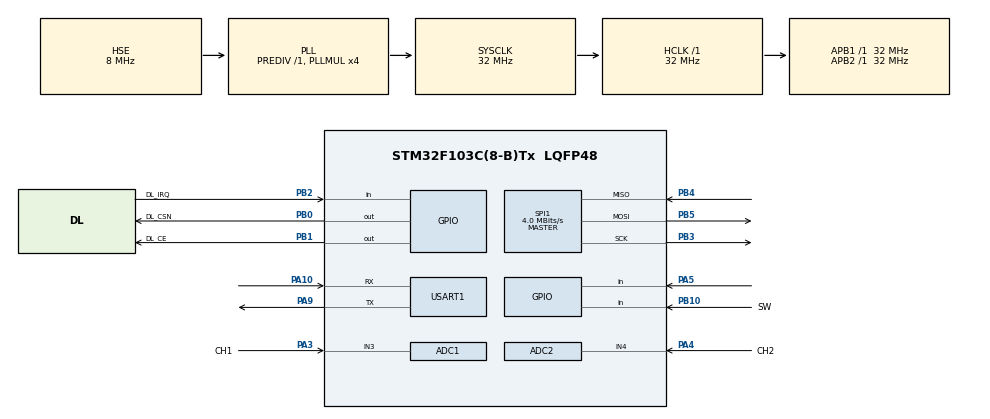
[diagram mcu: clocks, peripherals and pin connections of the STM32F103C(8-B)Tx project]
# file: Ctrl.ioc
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ADC1.Channel-0\#ChannelRegularConversion=ADC_CHANNEL_3
ADC1.NbrOfConversionFlag=1
ADC1.Rank-0\#ChannelRegularConversion=1
ADC1.SamplingTime-0\#ChannelRegularConversion=ADC_SAMPLETIME_1CYCLE_5
ADC1.master=1
ADC2.Channel-0\#ChannelRegularConversion=ADC_CHANNEL_4
ADC2.NbrOfConversionFlag=1
ADC2.Rank-0\#ChannelRegularConversion=1
ADC2.SamplingTime-0\#ChannelRegularConversion=ADC_SAMPLETIME_1CYCLE_5
IWDG.Prescaler=IWDG_PRESCALER_64
IWDG.Reload=625
Mcu.Family=STM32F1
Mcu.Name=STM32F103C(8-B)Tx
Mcu.Package=LQFP48
NVIC.PriorityGroup=NVIC_PRIORITYGROUP_4
NVIC.TIM3_IRQn=true\:0\:0\:false\:false\:true\:true\:true\:true
NVIC.USART1_IRQn=true\:0\:0\:false\:false\:true\:true\:true\:true
PA10.Mode=Asynchronous
PA10.Signal=USART1_RX
PA13.Mode=Serial_Wire
PA13.Signal=SYS_JTMS-SWDIO
PA14.Mode=Serial_Wire
PA14.Signal=SYS_JTCK-SWCLK
PA3.GPIO_Label=CH1
PA3.Signal=SharedAnalog_PA3
PA4.GPIO_Label=CH2
PA4.Signal=SharedAnalog_PA4
PA5.Signal=GPIO_Input
PA9.Mode=Asynchronous
PA9.Signal=USART1_TX
PB0.GPIO_Label=DL_CSN
PB0.GPIO_Speed=GPIO_SPEED_FREQ_HIGH
PB0.PinState=GPIO_PIN_SET
PB0.Signal=GPIO_Output
PB1.GPIO_Label=DL_CE
PB1.GPIO_Speed=GPIO_SPEED_FREQ_HIGH
PB1.PinState=GPIO_PIN_SET
PB1.Signal=GPIO_Output
PB10.GPIO_Label=SW
PB10.GPIO_PuPd=GPIO_PULLUP
PB10.Signal=GPIO_Input
PB2.GPIO_Label=DL_IRQ
PB2.GPIO_PuPd=GPIO_PULLUP
PB2.Signal=GPIO_Input
PB3.Mode=Full_Duplex_Master
PB3.Signal=SPI1_SCK
PB4.Mode=Full_Duplex_Master
PB4.Signal=SPI1_MISO
PB5.Mode=Full_Duplex_Master
PB5.Signal=SPI1_MOSI
PD0-OSC_IN.Mode=HSE-External-Oscillator
PD0-OSC_IN.Signal=RCC_OSC_IN
PD1-OSC_OUT.Mode=HSE-External-Oscillator
PD1-OSC_OUT.Signal=RCC_OSC_OUT
ProjectManager.HeapSize=0x200
ProjectManager.StackSize=0x400
ProjectManager.TargetToolchain=Makefile
RCC.ADCPresc=RCC_ADCPCLK2_DIV4
RCC.AHBFreq_Value=32000000
RCC.APB1Freq_Value=32000000
RCC.APB1TimFreq_Value=32000000
RCC.APB2Freq_Value=32000000
RCC.APB2TimFreq_Value=32000000
RCC.HCLKFreq_Value=32000000
RCC.PLLMUL=RCC_PLL_MUL4
RCC.PLLSourceVirtual=RCC_PLLSOURCE_HSE
RCC.SYSCLKFreq_VALUE=32000000
RCC.SYSCLKSource=RCC_SYSCLKSOURCE_PLLCLK
RCC.USBFreq_Value=32000000
SH.SharedAnalog_PA3.0=GPIO_Analog
SH.SharedAnalog_PA3.1=ADC1_IN3,IN3
SH.SharedAnalog_PA4.0=GPIO_Analog
SH.SharedAnalog_PA4.1=ADC2_IN4,IN4
SPI1.BaudRatePrescaler=SPI_BAUDRATEPRESCALER_8
SPI1.CLKPhase=SPI_PHASE_1EDGE
SPI1.CLKPolarity=SPI_POLARITY_LOW
SPI1.CRCCalculation=SPI_CRCCALCULATION_DISABLE
SPI1.CalculateBaudRate=4.0 MBits/s
SPI1.DataSize=SPI_DATASIZE_8BIT
SPI1.Direction=SPI_DIRECTION_2LINES
SPI1.FirstBit=SPI_FIRSTBIT_MSB
SPI1.Mode=SPI_MODE_MASTER
SPI1.VirtualNSS=VM_NSSHARD
SPI1.VirtualType=VM_MASTER
TIM3.Period=99
TIM3.Prescaler=71
USART1.VirtualMode=VM_ASYNC
VP_IWDG_VS_IWDG.Mode=IWDG_Activate
VP_TIM3_VS_ClockSourceINT.Mode=Internal
board=custom

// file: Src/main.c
/* USER CODE BEGIN Header */
/**
  ******************************************************************************
  * @file           : main.c
  * @brief          : Main program body
  ******************************************************************************
  * @attention
  *
  * Copyright (c) 2022 STMicroelectronics.
  * All rights reserved.
  *
  * This software is licensed under terms that can be found in the LICENSE file
  * in the root directory of this software component.
  * If no LICENSE file comes with this software, it is provided AS-IS.
  *
  ******************************************************************************
  */
/* USER CODE END Header */
#include "main.h"
#include "adc.h"
#include "iwdg.h"
#include "spi.h"
#include "tim.h"
#include "usart.h"
#include "gpio.h"

/* USER CODE BEGIN Includes */

#include "nrf24l01.h"
#include <stdio.h>
#include <string.h>

/* USER CODE END Includes */

void SystemClock_Config(void);

/* USER CODE BEGIN 0 */

/**
 * @brief  发送头 0xAA 0xAF 0xAD 0xA5
 * 数据第五位开始依次为： 转向角度 前进动力
 */
uint8_t sendDataStruct[32] =
{
  0xAA,
  0xAF,
  0xAD,
  0xA5
};

uint32_t ch1_adc;
uint32_t ch2_adc;

uint8_t rotate;
uint8_t straight;

/* USER CODE END 0 */

int main(void)
{

  /* MCU Configuration--------------------------------------------------------*/

  /* Reset of all peripherals, Initializes the Flash interface and the Systick. */
  HAL_Init();

  /* Configure the system clock */
  SystemClock_Config();

  /* Initialize all configured peripherals */
  MX_GPIO_Init();
  // MX_IWDG_Init();
  MX_SPI1_Init();
  MX_TIM3_Init();
  MX_USART1_UART_Init();
  MX_ADC1_Init();
  MX_ADC2_Init();
  /* USER CODE BEGIN 2 */

  HAL_Delay(500);

  while (NRF24L01_Check() == 1)
  {
    HAL_Delay(1000);
    HAL_UART_Transmit(&huart1, (uint8_t *) "init nrf err\n", 14, 200);
    /* code */
  }

  NRF24L01_TX_Mode();

  HAL_UART_Transmit(&huart1, (uint8_t *) "init tx mode succ\n", 19, 200);

  HAL_Delay(200);

  HAL_ADCEx_Calibration_Start(&hadc1);
  HAL_ADCEx_Calibration_Start(&hadc2);

  /* USER CODE END 2 */

  /* Infinite loop */
  /* USER CODE BEGIN WHILE */
  while (1)
  {

  HAL_ADC_Start(&hadc1);
  HAL_ADC_Start(&hadc2);

  ch1_adc = HAL_ADC_GetValue(&hadc1);
  ch2_adc = HAL_ADC_GetValue(&hadc2);

  rotate = (uint8_t) (ch1_adc / 20.48);
  straight = (uint8_t) (ch2_adc / 20.48);

  sendDataStruct[5] = rotate;
  sendDataStruct[6] = straight;

  uint8_t dt = NRF24L01_TxPacket((uint8_t *) sendDataStruct);
  if (dt == TX_OK)
  {
    HAL_UART_Transmit(&huart1, (uint8_t *) "send pack succ\n", 16, 200);
  } else {
    // char tmp[20] = "unknow err\n";
    // HAL_UART_Transmit(&huart1, (uint8_t *) tmp, 20, 200);
  }
  HAL_Delay(50);

  // char tmp[20] = "               ";
  // sprintf(tmp, "ch1: %d ch2: %d\n", (int)(ch1_adc / 20.48), (int)(ch2_adc / 20.48));

  // HAL_UART_Transmit(&huart1, (uint8_t *) tmp, 20, 200);

    /* USER CODE END WHILE */

  }
}

void SystemClock_Config(void)
{
  RCC_OscInitTypeDef RCC_OscInitStruct = {0};
  RCC_ClkInitTypeDef RCC_ClkInitStruct = {0};
  RCC_PeriphCLKInitTypeDef PeriphClkInit = {0};

  /** Initializes the RCC Oscillators according to the specified parameters
  * in the RCC_OscInitTypeDef structure.
  */
  RCC_OscInitStruct.OscillatorType = RCC_OSCILLATORTYPE_LSI|RCC_OSCILLATORTYPE_HSE;
  RCC_OscInitStruct.HSEState = RCC_HSE_ON;
  RCC_OscInitStruct.HSEPredivValue = RCC_HSE_PREDIV_DIV1;
  RCC_OscInitStruct.HSIState = RCC_HSI_ON;
  RCC_OscInitStruct.LSIState = RCC_LSI_ON;
  RCC_OscInitStruct.PLL.PLLState = RCC_PLL_ON;
  RCC_OscInitStruct.PLL.PLLSource = RCC_PLLSOURCE_HSE;
  RCC_OscInitStruct.PLL.PLLMUL = RCC_PLL_MUL4;
  if (HAL_RCC_OscConfig(&RCC_OscInitStruct) != HAL_OK)
  {
    Error_Handler();
  }

  /** Initializes the CPU, AHB and APB buses clocks
  */
  RCC_ClkInitStruct.ClockType = RCC_CLOCKTYPE_HCLK|RCC_CLOCKTYPE_SYSCLK
                              |RCC_CLOCKTYPE_PCLK1|RCC_CLOCKTYPE_PCLK2;
  RCC_ClkInitStruct.SYSCLKSource = RCC_SYSCLKSOURCE_PLLCLK;
  RCC_ClkInitStruct.AHBCLKDivider = RCC_SYSCLK_DIV1;
  RCC_ClkInitStruct.APB1CLKDivider = RCC_HCLK_DIV1;
  RCC_ClkInitStruct.APB2CLKDivider = RCC_HCLK_DIV1;

  if (HAL_RCC_ClockConfig(&RCC_ClkInitStruct, FLASH_LATENCY_1) != HAL_OK)
  {
    Error_Handler();
  }
  PeriphClkInit.PeriphClockSelection = RCC_PERIPHCLK_ADC;
  PeriphClkInit.AdcClockSelection = RCC_ADCPCLK2_DIV4;
  if (HAL_RCCEx_PeriphCLKConfig(&PeriphClkInit) != HAL_OK)
  {
    Error_Handler();
  }
}

void Error_Handler(void)
{
  __disable_irq();
  while (1)
  {
  }
}
